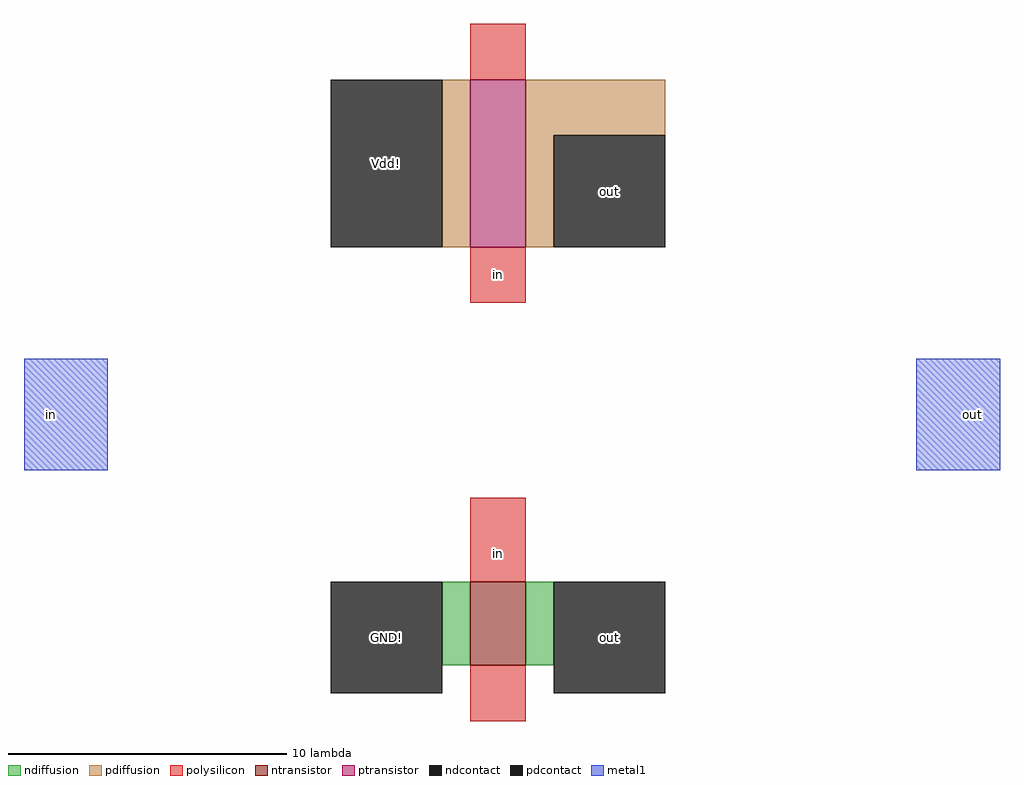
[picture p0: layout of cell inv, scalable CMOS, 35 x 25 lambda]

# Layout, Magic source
magic
tech scmos
<< ntransistor >>
rect -16 -18 -14 -15
<< ptransistor >>
rect -16 -3 -14 3
<< ndiffusion >>
rect -17 -18 -16 -15
rect -14 -18 -13 -15
<< pdiffusion >>
rect -17 -3 -16 3
rect -14 1 -9 3
rect -14 -3 -13 1
<< ndcontact >>
rect -21 -19 -17 -15
rect -13 -19 -9 -15
<< pdcontact >>
rect -21 -3 -17 3
rect -13 -3 -9 1
<< polysilicon >>
rect -16 3 -14 5
rect -16 -5 -14 -3
rect -16 -15 -14 -12
rect -16 -20 -14 -18
<< metal1 >>
rect -32 -11 -29 -7
rect 0 -11 3 -7
<< labels >>
rlabel ndcontact -19 -17 -19 -17 1 GND!
rlabel pdcontact -19 0 -19 0 5 Vdd!
rlabel polysilicon -15 -4 -15 -4 1 in
rlabel polysilicon -15 -14 -15 -14 1 in
rlabel pdcontact -11 -1 -11 -1 1 out
rlabel ndcontact -11 -17 -11 -17 1 out
rlabel metal1 2 -9 2 -9 7 out
rlabel metal1 -31 -9 -31 -9 3 in
<< end >>
